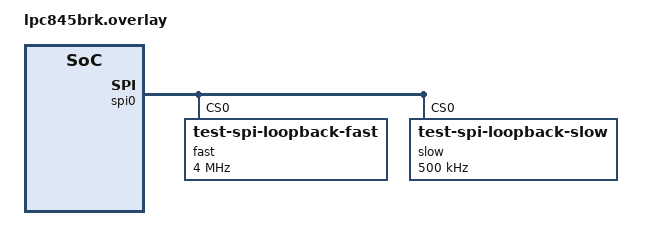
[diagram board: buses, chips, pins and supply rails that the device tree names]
/*
 * Copyright (c) 2026 Aerlync Labs Inc.
 *
 * SPDX-License-Identifier: Apache-2.0
 */

&spi0 {
	pinctrl-0 = <&spi0_default>;
	pinctrl-names = "default";
	status = "okay";

	fast@0 {
		compatible = "test-spi-loopback-fast";
		reg = <0>;
		spi-max-frequency = <4000000>;
	};

	slow@0 {
		compatible = "test-spi-loopback-slow";
		reg = <0>;
		spi-max-frequency = <500000>;
	};
};
